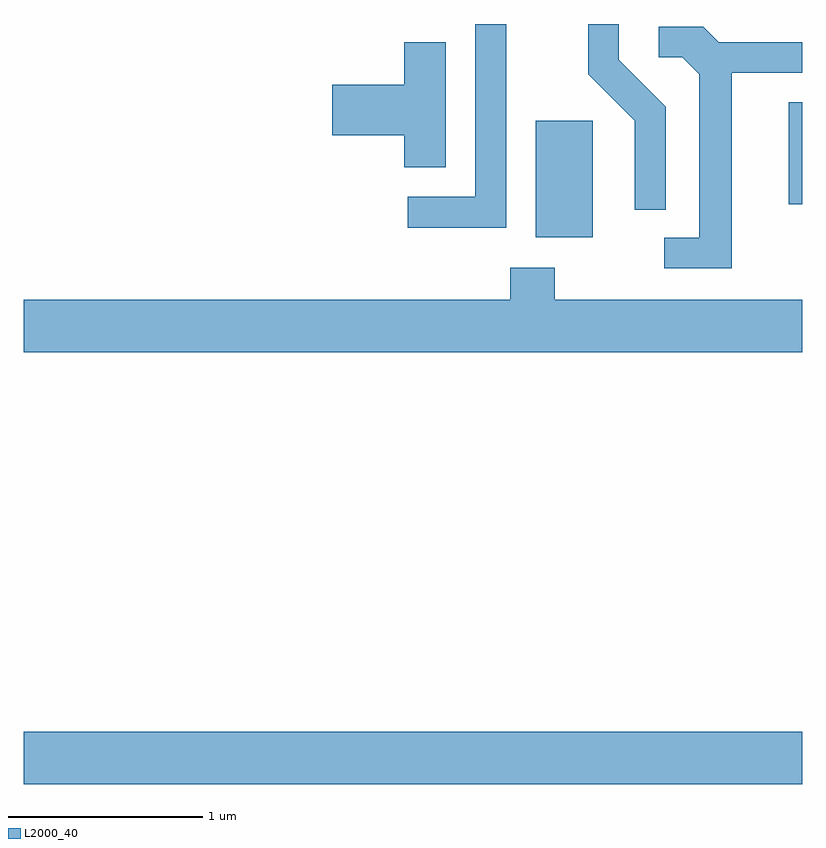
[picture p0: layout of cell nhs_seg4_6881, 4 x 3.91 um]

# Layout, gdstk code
import gdstk
lib = gdstk.Library(unit=1e-6, precision=1e-09)
def R(c, l, rs):  # rectangles x0, y0, x1, y1
    for r in rs: c.add(gdstk.rectangle(r[:2], r[2:], *l))
def P(c, l, *ps):  # polygons
    for p in ps: c.add(gdstk.Polygon(p, *l))
L2000_40 = (2000, 40)

nhs_seg4_6881 = lib.new_cell('nhs_seg4_6881')
R(nhs_seg4_6881, L2000_40, [(387.611,1288.076,391.611,1288.344), (390.241,1290.886,390.534,1291.484), (391.541,1291.056,391.611,1291.579)])
P(nhs_seg4_6881, L2000_40, [(390.089,1291.982),(389.931,1291.982),(389.931,1291.094),(389.583,1291.094),(389.583,1290.936),(390.089,1290.936)],
  [(390.909,1291.557),(390.669,1291.797),(390.669,1291.982),(390.511,1291.982),(390.511,1291.724),(390.751,1291.484),(390.751,1291.028),(390.909,1291.028)],
  [(391.249,1291.731),(391.611,1291.731),(391.611,1291.889),(391.182,1291.889),(391.102,1291.969),(390.873,1291.969),(390.873,1291.811),(390.994,1291.811),(391.081,1291.724),(391.081,1290.884),(390.903,1290.884),(390.903,1290.726),(391.249,1290.726)],
  [(389.779,1291.889),(389.566,1291.889),(389.566,1291.669),(389.196,1291.669),(389.196,1291.411),(389.566,1291.411),(389.566,1291.246),(389.779,1291.246)],
  [(391.611,1290.564),(390.339,1290.564),(390.339,1290.729),(390.111,1290.729),(390.111,1290.564),(387.611,1290.564),(387.611,1290.296),(391.611,1290.296)])

lib.write_gds('nhs_seg4_6881.gds')
